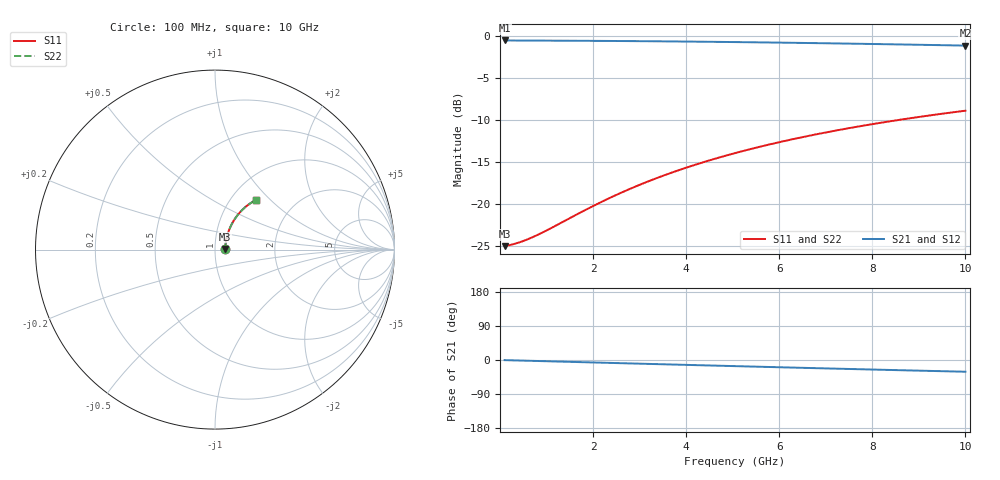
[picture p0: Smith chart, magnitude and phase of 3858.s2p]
# Hz S RI R 50.00
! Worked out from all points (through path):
!   100 points, 100 MHz to 10 GHz, reference 50 ohm
!   highest |S21| = -0.50 dB at 100 MHz (marker M1); lowest = -1.1 dB at 10 GHz (marker M2)
!   group delay of S21, straight-line fit = 8.63 ps
!   lowest |S11| = -25.0 dB at 100 MHz (marker M3), VSWR 1.12, Z = 55.9 + j0.405 ohm
!   |S11| at or under -10 dB: start of sweep to 8.536 GHz
!   |S22| runs from -25.0 to -8.9 dB; largest |S21 - S12| = 0
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1e8  0.056 0.00361  0.944 -0.00535  0.944 -0.00535  0.056 0.00361
3e8  0.0568 0.0108  0.9432 -0.016  0.9432 -0.016  0.0568 0.0108
4e8  0.0571 0.0144  0.9428 -0.0214  0.9428 -0.0214  0.0571 0.0144
5e8  0.0575 0.018  0.9424 -0.0267  0.9424 -0.0267  0.0575 0.018
7e8  0.0583 0.0252  0.9416 -0.0374  0.9416 -0.0374  0.0583 0.0252
1e9  0.0597 0.0359  0.9402 -0.0533  0.9402 -0.0533  0.0597 0.0359
1.8e9  0.0649 0.0641  0.9346 -0.0954  0.9346 -0.0954  0.0649 0.0641
2.2e9  0.0683 0.0779  0.9309 -0.1163  0.9309 -0.1163  0.0683 0.0779
2.6e9  0.0724 0.0916  0.9265 -0.1369  0.9265 -0.1369  0.0724 0.0916
3e9  0.077 0.105  0.9215 -0.1573  0.9215 -0.1573  0.077 0.105
3.4e9  0.0822 0.1182  0.9159 -0.1774  0.9159 -0.1774  0.0822 0.1182
3.8e9  0.088 0.131  0.9097 -0.1972  0.9097 -0.1972  0.088 0.131
4.2e9  0.0942 0.1435  0.903 -0.2168  0.903 -0.2168  0.0942 0.1435
4.6e9  0.101 0.1557  0.8956 -0.236  0.8956 -0.236  0.101 0.1557
5.1e9  0.1102 0.1704  0.8857 -0.2594  0.8857 -0.2594  0.1102 0.1704
5.5e9  0.118 0.1818  0.8772 -0.2777  0.8772 -0.2777  0.118 0.1818
5.9e9  0.1263 0.1926  0.8682 -0.2957  0.8682 -0.2957  0.1263 0.1926
6.7e9  0.1441 0.2131  0.8488 -0.3302  0.8488 -0.3302  0.1441 0.2131
7.5e9  0.1632 0.2317  0.8278 -0.3629  0.8278 -0.3629  0.1632 0.2317
8.4e9  0.1862 0.2504  0.8025 -0.3974  0.8025 -0.3974  0.1862 0.2504
9.2e9  0.2076 0.2648  0.7788 -0.4261  0.7788 -0.4261  0.2076 0.2648
1e10  0.2298 0.2772  0.7542 -0.4527  0.7542 -0.4527  0.2298 0.2772
